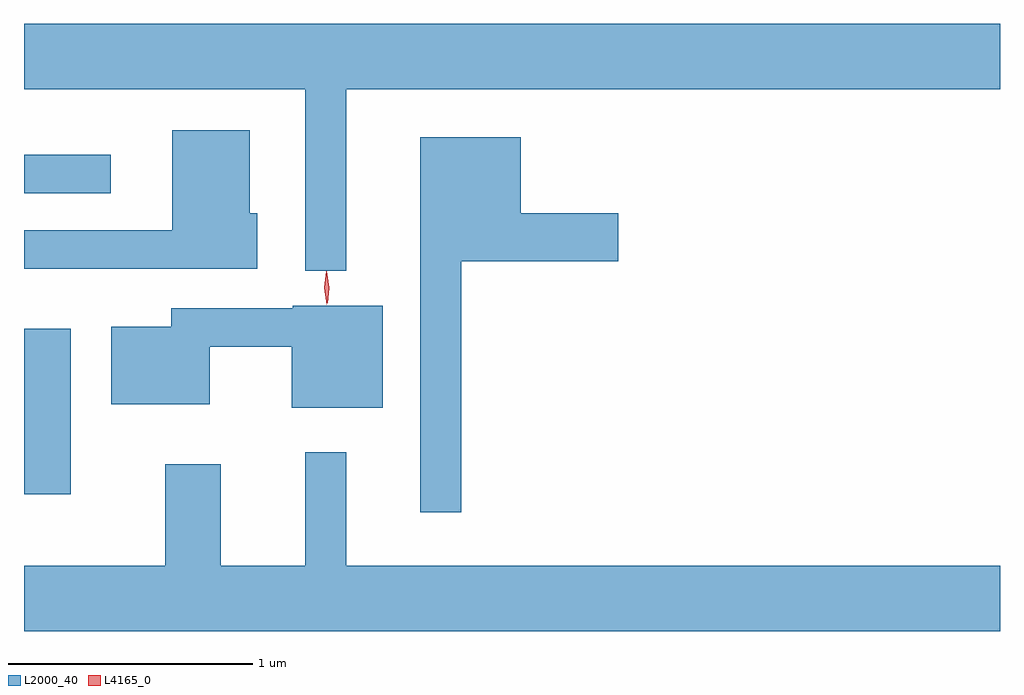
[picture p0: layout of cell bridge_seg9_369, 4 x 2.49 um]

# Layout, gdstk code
import gdstk
lib = gdstk.Library(unit=1e-6, precision=1e-09)
def R(c, l, rs):  # rectangles x0, y0, x1, y1
    for r in rs: c.add(gdstk.rectangle(r[:2], r[2:], *l))
def P(c, l, *ps):  # polygons
    for p in ps: c.add(gdstk.Polygon(p, *l))
L2000_40 = (2000, 40)
L4165_0 = (4165, 0)

bridge_seg9_369 = lib.new_cell('bridge_seg9_369')
R(bridge_seg9_369, L2000_40, [(898.328,2005.696,898.519,2006.374), (898.328,2006.931,898.683,2007.089)])
P(bridge_seg9_369, L2000_40, [(899.649,2007.356),(902.328,2007.356),(902.328,2007.624),(898.328,2007.624),(898.328,2007.356),(899.481,2007.356),(899.481,2006.613),(899.649,2006.613)],
  [(899.284,2006.849),(899.254,2006.849),(899.254,2007.189),(898.936,2007.189),(898.936,2006.779),(898.328,2006.779),(898.328,2006.621),(899.284,2006.621)],
  [(900.119,2006.651),(900.764,2006.651),(900.764,2006.849),(900.364,2006.849),(900.364,2007.159),(899.951,2007.159),(899.951,2005.623),(900.119,2005.623)],
  [(899.799,2006.469),(899.43,2006.469),(899.43,2006.459),(898.931,2006.459),(898.931,2006.384),(898.686,2006.384),(898.686,2006.066),(899.089,2006.066),(899.089,2006.301),(899.426,2006.301),(899.426,2006.051),(899.799,2006.051)],
  [(902.328,2005.404),(899.649,2005.404),(899.649,2005.868),(899.481,2005.868),(899.481,2005.404),(899.134,2005.404),(899.134,2005.819),(898.906,2005.819),(898.906,2005.404),(898.328,2005.404),(898.328,2005.136),(902.328,2005.136)])
P(bridge_seg9_369, L4165_0, [(899.568,2006.473),(899.568,2006.474),(899.558,2006.542),(899.567,2006.61),(899.567,2006.61),(899.568,2006.61),(899.578,2006.542),(899.569,2006.474)],
  [(899.572,2006.479),(899.572,2006.479),(899.56,2006.542),(899.567,2006.607),(899.567,2006.607),(899.568,2006.607),(899.58,2006.543),(899.573,2006.479)])

lib.write_gds('bridge_seg9_369.gds')
